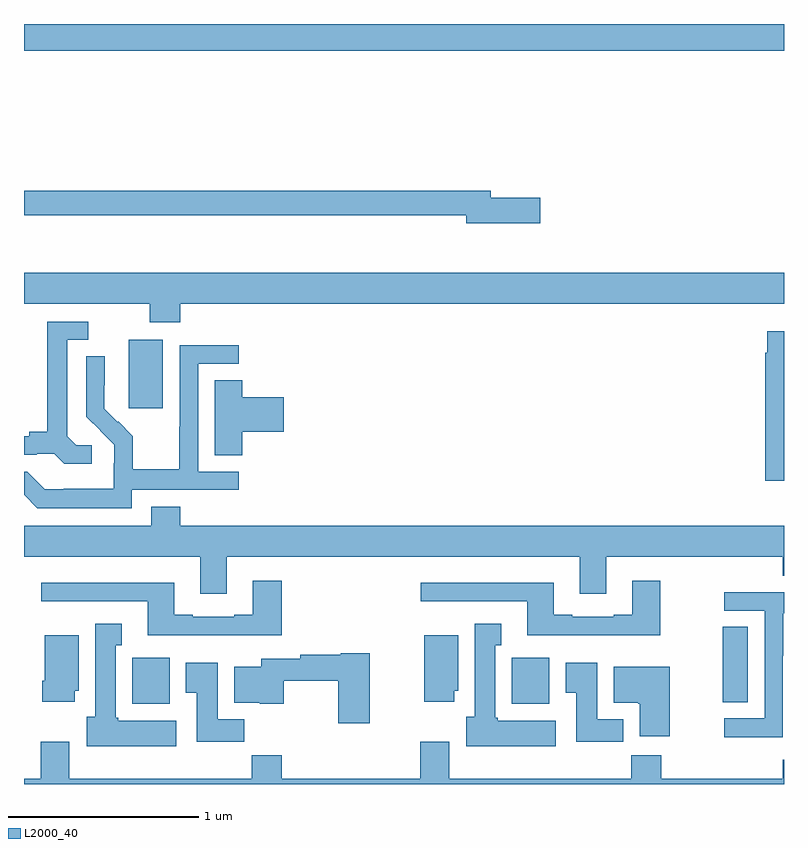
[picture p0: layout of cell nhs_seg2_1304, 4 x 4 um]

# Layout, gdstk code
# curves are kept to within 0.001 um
import gdstk
lib = gdstk.Library(unit=1e-6, precision=1e-09)
def R(c, l, rs):  # rectangles x0, y0, x1, y1
    for r in rs: c.add(gdstk.rectangle(r[:2], r[2:], *l))
def P(c, l, *ps):  # polygons
    for p in ps: c.add(gdstk.Polygon(p, *l))
L2000_40 = (2000, 40)

nhs_seg2_1304 = lib.new_cell('nhs_seg2_1304')
R(nhs_seg2_1304, L2000_40, [(179.57,620.222,179.767,620.464), (181.568,620.222,181.765,620.464), (182.678,620.23,182.809,620.627), (179.552,621.777,179.731,622.138), (179,623.66,183,623.8)])
P(nhs_seg2_1304, L2000_40, [(181.717,622.886),(181.456,622.886),(181.456,622.922),(179,622.922),(179,622.794),(181.328,622.794),(181.328,622.751),(181.717,622.751)],
  [(179.822,622.328),(183,622.328),(183,622.492),(179,622.492),(179,622.328),(179.662,622.328),(179.662,622.229),(179.822,622.229)],
  [(179.356,621.582),(179.274,621.582),(179.227,621.629),(179.227,622.137),(179.338,622.137),(179.338,622.233),(179.123,622.233),(179.123,621.653),(179.027,621.653),(179.027,621.63),(179,621.63),(179,621.534),(179.066,621.534),(179.066,621.537),(179.16,621.537),(179.212,621.485),(179.356,621.485)],
  [(183,622.183),(182.912,622.183),(182.912,622.07),(182.9,622.07),(182.9,621.396),(183,621.396)],
  [(179.568,621.348),(180.13,621.348),(180.13,621.444),(179.916,621.444),(179.916,622.011),(180.13,622.011),(180.13,622.11),(179.82,622.11),(179.82,621.68),(179.818,621.68),(179.818,621.457),(179.573,621.457),(179.573,621.631),(179.496,621.708),(179.493,621.705),(179.423,621.776),(179.424,622.052),(179.328,622.052),(179.328,621.734),(179.474,621.586),(179.474,621.489),(179.472,621.489),(179.472,621.355),(179.209,621.355),(179.209,621.351),(179.109,621.351),(179.016,621.444),(179,621.444),(179,621.322),(179.071,621.251),(179.568,621.251)],
  [(180.149,621.653),(180.367,621.653),(180.367,621.836),(180.149,621.836),(180.149,621.926),(180.005,621.926),(180.005,621.529),(180.149,621.529)],
  [(180.067,620.996),(181.925,620.996),(181.925,620.802),(182.065,620.802),(182.065,620.996),(182.993,620.996),(182.993,620.897),(183,620.897),(183,621.16),(179.822,621.16),(179.822,621.259),(179.669,621.259),(179.669,621.16),(179,621.16),(179,620.996),(179.927,620.996),(179.927,620.802),(180.067,620.802)],
  [(180.356,620.869),(180.203,620.869),(180.203,620.692),(180.107,620.692),(180.107,620.679),(179.887,620.679),(179.887,620.692),(179.791,620.692),(179.791,620.86),(179.091,620.86),(179.091,620.763),(179.651,620.763),(179.651,620.582),(180.356,620.582)],
  [(182.349,620.869),(182.201,620.869),(182.201,620.692),(182.105,620.692),(182.105,620.679),(181.885,620.679),(181.885,620.692),(181.789,620.692),(181.789,620.86),(181.089,620.86),(181.089,620.763),(181.649,620.763),(181.649,620.582),(182.349,620.582)],
  [(182.994,620.476),(182.997,620.476),(182.997,620.7),(183,620.7),(183,620.808),(182.685,620.808),(182.685,620.712),(182.898,620.712),(182.898,620.145),(182.685,620.145),(182.685,620.047),(182.994,620.047)],
  [(181.798,620.134),(181.494,620.134),(181.494,620.148),(181.48,620.148),(181.48,620.531),(181.513,620.531),(181.513,620.644),(181.373,620.644),(181.373,620.154),(181.328,620.154),(181.328,620),(181.798,620)],
  [(179.8,620.134),(179.496,620.134),(179.496,620.148),(179.482,620.148),(179.482,620.531),(179.515,620.531),(179.515,620.644),(179.375,620.644),(179.375,620.154),(179.33,620.154),(179.33,620),(179.8,620)],
  [(179.266,620.292),(179.287,620.292),(179.287,620.584),(179.108,620.584),(179.108,620.344),(179.096,620.344),(179.096,620.232),(179.266,620.232)],
  [(181.264,620.292),(181.285,620.292),(181.285,620.584),(181.106,620.584),(181.106,620.232),(181.264,620.232)],
  [(180.82,620.488),(180.666,620.488),(180.666,620.48),(180.454,620.48),(180.454,620.46),(180.248,620.46),(180.248,620.416),(180.107,620.416),(180.107,620.228),(180.24,620.228),(180.24,620.222),(180.366,620.222),(180.366,620.344),(180.655,620.344),(180.655,620.121),(180.82,620.121)],
  [(180.158,620.14),(180.019,620.14),(180.019,620.437),(179.852,620.437),(179.852,620.281),(179.909,620.281),(179.909,620.022),(180.158,620.022)],
  [(182.155,620.14),(182.017,620.14),(182.017,620.437),(181.85,620.437),(181.85,620.281),(181.907,620.281),(181.907,620.022),(182.155,620.022)],
  [(182.398,620.416),(182.105,620.416),(182.105,620.228),(182.234,620.228),(182.234,620.222),(182.24,620.222),(182.24,620.052),(182.398,620.052)],
  [(183,619.927),(182.993,619.927),(182.993,619.828),(182.354,619.828),(182.354,619.952),(182.197,619.952),(182.197,619.828),(181.237,619.828),(181.237,620.023),(181.085,620.023),(181.085,619.828),(180.356,619.828),(180.356,619.952),(180.199,619.952),(180.199,619.828),(179.239,619.828),(179.239,620.023),(179.087,620.023),(179.087,619.828),(179,619.828),(179,619.8),(183,619.8)])

lib.write_gds('nhs_seg2_1304.gds')
